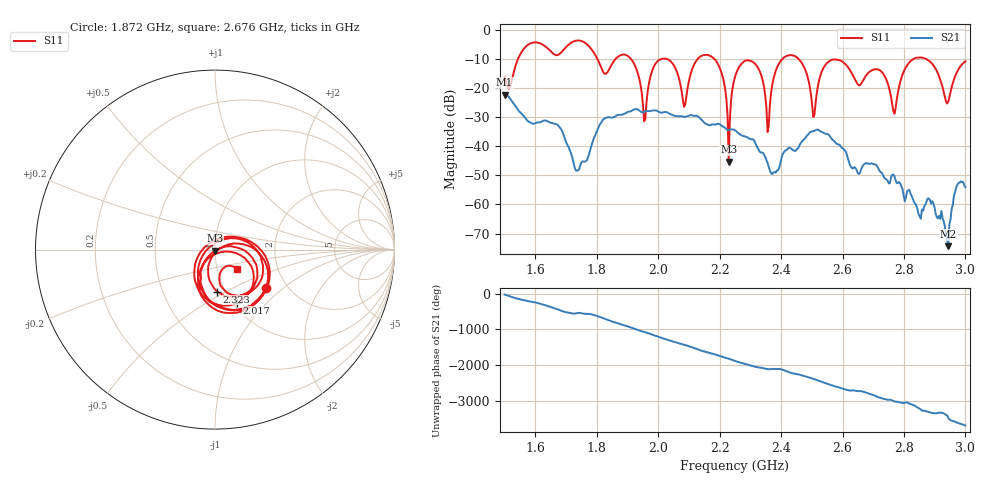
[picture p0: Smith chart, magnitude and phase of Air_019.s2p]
# HZ S RI R 50
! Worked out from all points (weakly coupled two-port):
!   404 points, 1.5 GHz to 3 GHz, reference 50 ohm
!   highest |S21| = -22.21 dB at 1.5 GHz (marker M1); lowest = -74.3 dB at 2.944 GHz (marker M2)
!   lowest |S11| = -45.3 dB at 2.23 GHz (marker M3), VSWR 1.01, Z = 50 - j0.544 ohm
!   |S11| at or under -10 dB: 2.183 GHz to 2.404 GHz (221.3 MHz wide, 9.65 % of centre); 2.457 GHz to 2.831 GHz (374.1 MHz wide, 14.1 % of centre); 2.872 GHz to end of sweep (the widest 3 of 7)
!   S12 and S22 are empty: the file has one direction only
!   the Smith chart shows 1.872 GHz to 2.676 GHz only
!   S11 on the Smith chart (normalised r, x): 1.872 GHz: 1.57, -0.76; 2.017 GHz: 1.05, -0.69; 2.323 GHz: 0.92, -0.45; 2.676 GHz: 1.24, -0.28
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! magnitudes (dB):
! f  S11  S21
! 1.5 GHz  -16.4  -22.2
! 1.582 GHz  -4.7  -31.7
! 1.753 GHz  -3.9  -45.2
! 1.872 GHz  -9.0  -29.2
! 1.954 GHz  -31.4  -28.2
! 2.002 GHz  -10.4  -28.2
! 2.017 GHz  -9.9  -28.3
! 2.084 GHz  -26.5  -29.9
! 2.181 GHz  -9.8  -32.5
! 2.23 GHz  -45.3  -34.4
! 2.252 GHz  -15.5  -34.7
! 2.323 GHz  -12.6  -40.4
! 2.356 GHz  -35.1  -45.8
! 2.423 GHz  -8.8  -40.7
! 2.501 GHz  -25.9  -34.9
! 2.561 GHz  -10.5  -36.9
! 2.676 GHz  -15.7  -45.8
! 2.751 GHz  -19.6  -52.7
! 2.769 GHz  -28.8  -50.3
! 2.859 GHz  -9.5  -61.7
! 2.944 GHz  -24.6  -74.3
! 3 GHz  -10.8  -54.1
